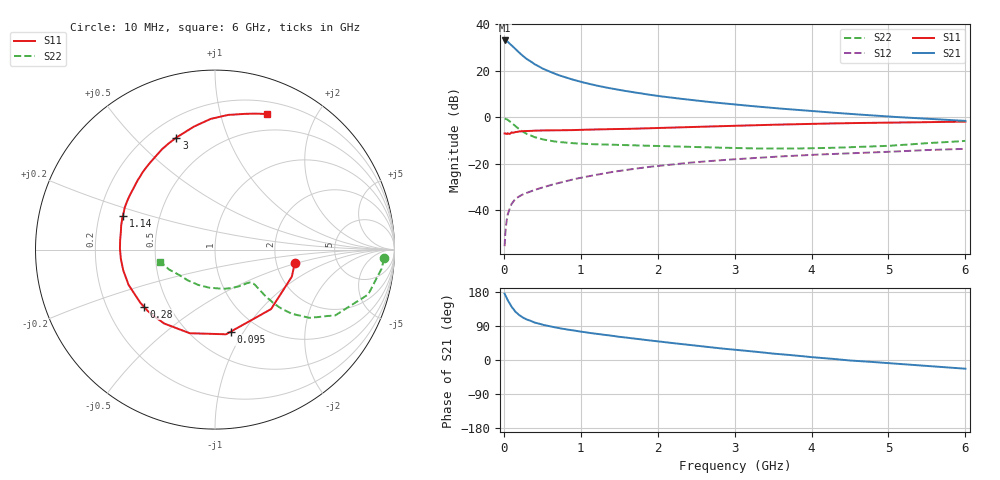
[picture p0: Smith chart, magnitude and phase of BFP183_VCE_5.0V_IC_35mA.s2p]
! Infineon Technologies  Discrete & RF Semiconductors
! BFP183
! VCE = 5.0 V,  IC =  35 mA
! Common Emitter S-Parameters:  Jan 2016
# GHz  S  MA  R  50
!  f  S11  S21  S12  S22
! GHz  MAG  ANG  MAG  ANG  MAG  ANG  MAG  ANG
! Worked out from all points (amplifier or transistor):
!   210 points, 10 MHz to 6 GHz, reference 50 ohm
!   highest |S21| = 33.1 dB at 10 MHz (marker M1)
!   |S21| within 3 dB of that: start of sweep to 129.1 MHz
!   unconditionally stable (mu >= 1): 636.8 MHz to 5.793 GHz
!   at 185 MHz: K = 0.49, MSG = 31.3 dB, |S12| = -34.3 dB
!   at 1.52 GHz: K = 1.17, MAG = 14.8 dB, |S12| = -22.9 dB
!   at 6 GHz: K = 0.97, MSG = 6.0 dB, |S12| = -13.5 dB
!   S11 on the Smith chart (normalised r, x): 10 MHz: 2.54, -0.47; 95 MHz: 0.75, -0.88; 280 MHz: 0.36, -0.31; 1.14 GHz: 0.30, +0.16; 3 GHz: 0.30, +0.67; 6 GHz: 0.32, +1.41
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0.01  0.4509 -9.5  45.11 175.1  0.0017 81.2  0.9435 -3.0
0.02  0.4538 -19.4  44.77 171.0  0.0033 85.9  0.9344 -6.5
0.05  0.4555 -46.7  42.47 157.7  0.0081 75.6  0.8895 -16.3
0.095  0.4659 -79.3  36.22 142.2  0.0131 63.9  0.7752 -27.2
0.1  0.4758 -82.6  35.72 140.2  0.0137 63.1  0.7645 -28.6
0.15  0.4867 -106.8  29.56 127.4  0.0176 55.9  0.6485 -35.9
0.2  0.4997 -124.5  24.64 118.3  0.02 53.3  0.5562 -39.9
0.24  0.5044 -133.7  21.52 113.1  0.0218 51.7  0.5028 -41.4
0.28  0.5079 -141.3  19.07 108.8  0.0232 51.9  0.4599 -42.2
0.3  0.5107 -144.8  17.96 106.7  0.0238 52.2  0.4402 -42.5
0.4  0.52 -157.8  13.96 98.8  0.0275 53.0  0.3758 -42.6
0.5  0.5241 -167.3  11.3 93.2  0.031 53.4  0.3377 -42.1
0.7  0.5296 179.5  8.194 84.7  0.0382 56.4  0.2975 -41.4
1.02  0.5404 164.9  5.702 74.3  0.0509 57.6  0.271 -42.6
1.14  0.5467 159.9  5.123 71.0  0.0558 57.4  0.2659 -43.6
1.5  0.5625 148.1  3.891 61.2  0.0705 56.4  0.2551 -48.2
2.02  0.5909 132.7  2.866 48.8  0.0909 52.4  0.2431 -57.9
3  0.6604 109.0  1.893 26.9  0.1257 43.5  0.2188 -82.9
3.1  0.666 107.1  1.829 25.2  0.1288 42.5  0.2167 -85.9
4.1  0.7329 90.3  1.333 6.0  0.159 33.0  0.2183 -118.4
5.1  0.7742 77.6  1.019 -9.8  0.1849 25.0  0.2504 -147.3
6  0.8098 68.9  0.841 -23.0  0.2107 16.6  0.3122 -167.4
